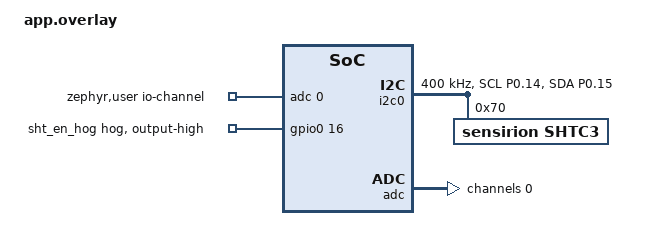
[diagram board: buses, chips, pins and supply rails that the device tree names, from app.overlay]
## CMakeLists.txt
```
cmake_minimum_required(VERSION 3.20.0)
find_package(Zephyr REQUIRED HINTS $ENV{ZEPHYR_BASE})

project(eternal_nrf_code_battery)

target_sources(app PRIVATE src/main.c)
```

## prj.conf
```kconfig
# Bluetooth: broadcaster only (non-connectable advertising, no GATT)
CONFIG_BT=y
CONFIG_BT_BROADCASTER=y
CONFIG_BT_PERIPHERAL=n
CONFIG_BT_OBSERVER=n
CONFIG_BT_CTLR_SDC_PERIPHERAL_COUNT=0
CONFIG_BT_SETTINGS=y
CONFIG_BT_DEVICE_NAME="MT"
CONFIG_SETTINGS=y
CONFIG_FLASH=y
CONFIG_FLASH_MAP=y
CONFIG_NVS=y

# Max TX on nRF52810 (+4 dBm) — favor scanner delivery over burst current
CONFIG_BT_CTLR_TX_PWR_PLUS_4=y

# Use external 32.768 kHz crystal (LFXO). DC/DC is enabled by the nrf52dk
# board's `regulator-initial-mode = <NRF5X_REG_MODE_DCDC>` in DT.
CONFIG_CLOCK_CONTROL_NRF_K32SRC_XTAL=y

# Power management: tickless idle is on by default; explicitly enable PM so
# devices (TWIM, SAADC) drop to their low-power pinctrl states between uses.
CONFIG_PM=y
CONFIG_PM_DEVICE=y
CONFIG_PM_DEVICE_RUNTIME=y

# Trim everything we don't need
CONFIG_SIZE_OPTIMIZATIONS=y
CONFIG_BOOT_BANNER=n
CONFIG_SERIAL=n
CONFIG_UART_CONSOLE=n
CONFIG_LOG=n
CONFIG_ASSERT=n
CONFIG_THREAD_NAME=n
CONFIG_THREAD_MONITOR=n
CONFIG_THREAD_STACK_INFO=n

# All logging / console output disabled for production power-saving.
# printk() calls in the source compile to no-ops with CONFIG_PRINTK=n.
CONFIG_CONSOLE=n
CONFIG_PRINTK=n
CONFIG_USE_SEGGER_RTT=n
CONFIG_RTT_CONSOLE=n

# Tight stacks (broadcaster path only)
CONFIG_MAIN_STACK_SIZE=768
CONFIG_IDLE_STACK_SIZE=128
CONFIG_SYSTEM_WORKQUEUE_STACK_SIZE=1024
CONFIG_BT_RX_STACK_SIZE=1024

# SHT-C3 over I2C
CONFIG_I2C=y
CONFIG_SENSOR=y
CONFIG_SHTCX=y

# SAADC for VDD measurement
CONFIG_ADC=y
```

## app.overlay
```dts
#include <zephyr/dt-bindings/gpio/gpio.h>
#include <zephyr/dt-bindings/adc/adc.h>
#include <zephyr/dt-bindings/adc/nrf-saadc.h>

/ {
	zephyr,user {
		io-channels = <&adc 0>;
	};
};

&pinctrl {
	i2c0_default: i2c0_default {
		group1 {
			psels = <NRF_PSEL(TWIM_SCL, 0, 14)>,
				<NRF_PSEL(TWIM_SDA, 0, 15)>;
		};
	};

	i2c0_sleep: i2c0_sleep {
		group1 {
			psels = <NRF_PSEL(TWIM_SCL, 0, 14)>,
				<NRF_PSEL(TWIM_SDA, 0, 15)>;
			low-power-enable;
		};
	};
};

/* Free P0.09 / P0.10 from NFC1/NFC2 mode so they work as plain GPIOs and
 * the NFC antenna-sense circuit isn't burning current in System ON LP.
 * Writes UICR.NFCPINS = Disabled at boot via the HAL init sequence.
 */
&uicr {
	nfct-pins-as-gpios;
};

&gpio0 {
	sht_en_hog {
		gpio-hog;
		gpios = <16 GPIO_ACTIVE_HIGH>;
		output-high;
	};
};

&i2c0 {
	compatible = "nordic,nrf-twim";
	status = "okay";
	pinctrl-0 = <&i2c0_default>;
	pinctrl-1 = <&i2c0_sleep>;
	pinctrl-names = "default", "sleep";
	clock-frequency = <I2C_BITRATE_FAST>;

	shtc3: shtc3@70 {
		compatible = "sensirion,shtc3", "sensirion,shtcx";
		reg = <0x70>;
		measure-mode = "normal";
		zephyr,deferred-init;
	};
};

&adc {
	status = "okay";
	#address-cells = <1>;
	#size-cells = <0>;

	channel@0 {
		reg = <0>;
		zephyr,gain = "ADC_GAIN_1_6";
		zephyr,reference = "ADC_REF_INTERNAL";
		zephyr,acquisition-time = <ADC_ACQ_TIME_DEFAULT>;
		zephyr,input-positive = <NRF_SAADC_VDD>;
		zephyr,resolution = <12>;
	};
};
```

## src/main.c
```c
#include <zephyr/kernel.h>
#include <zephyr/sys/printk.h>
#include <zephyr/device.h>
#include <zephyr/drivers/gpio.h>
#include <zephyr/drivers/sensor.h>
#include <zephyr/drivers/adc.h>
#include <zephyr/bluetooth/bluetooth.h>
#include <zephyr/settings/settings.h>
#include <zephyr/sys/byteorder.h>
#include <zephyr/sys/atomic.h>

/* BTHome v2 service-data format (https://bthome.io). Objects must be in
 * ascending object-ID order.
 *   uuid     : 0xFCD2 (BTHome SIG-assigned 16-bit UUID), little-endian
 *   info     : 0x40 = v2, unencrypted, not trigger-based
 *   0x00     : packet id, uint8. Incremented on every payload change; HA
 *              drops repeats, so a 1.5 s burst is one update / one event.
 *   0x01     : battery, uint8, % (per-cell discharge curve, resting VDD)
 *   0x02     : temperature, int16 LE, 0.01 degC resolution
 *   0x03     : humidity, uint16 LE, 0.01 % resolution
 *   0x11     : opening, uint8 (magnet/contact state)
 *   0x16     : battery charging, uint8 (from the resting-VDD trend)
 *   0x3A     : button event, uint8 (0 none, 1 press, 2 double, 3 triple,
 *              4 long press). Replaces the old 0x0F generic-bool state.
 *
 * Total advertisement: flags 3 + name "MT" 4 + service data 21 = 28 of
 * the 31 legacy-advertising bytes.
 */
#define BTHOME_UUID         0xFCD2U
#define BTHOME_INFO_V2      0x40U
#define BTHOME_OID_PACKET   0x00U
#define BTHOME_OID_BATTERY  0x01U
#define BTHOME_OID_TEMP     0x02U
#define BTHOME_OID_HUM      0x03U
#define BTHOME_OID_OPENING  0x11U
#define BTHOME_OID_CHARGING 0x16U
#define BTHOME_OID_BUTTON   0x3AU

#define BTN_EVT_NONE        0x00U
#define BTN_EVT_PRESS       0x01U
#define BTN_EVT_DOUBLE      0x02U
#define BTN_EVT_TRIPLE      0x03U
#define BTN_EVT_LONG        0x04U

/* Button timing. Long press fires while still held so it feels immediate. */
#define BTN_DEBOUNCE_MS     20U
#define BTN_MULTI_GAP_MS    350U
#define BTN_LONG_MS         1000U

/* Resting-VDD discharge curve (mV -> %), piecewise linear between points.
 * Approximation of the datasheet curve at uA-level loads; tune against
 * real logs. Readings taken while the radio is active are ignored for the
 * battery %, since TX sag on these small cells is tens of mV.
 */
struct curve_pt {
	uint16_t mv;
	uint8_t  pct;
};

#if defined(ETERNAL_CELL_CR2032)
/* CR2032 primary cell (e.g. the main-door unit). Build with
 *   west build -d build_cr2032 -- -DEXTRA_CFLAGS=-DETERNAL_CELL_CR2032
 * Long flat plateau ~2.9-3.0 V at uA loads, knee below ~2.7 V. No charging
 * object is sent: the cell can't charge.
 */
static const struct curve_pt batt_curve[] = {
	{3000, 100}, {2900, 80}, {2800, 60}, {2700, 40},
	{2600, 25},  {2500, 15}, {2400, 8},  {2200, 0},
};
#else
/* ML621 (Mn-Li, charged to ~3.1 V by the BQ25504 VBAT_OV setting): drops
 * quickly off full charge, then slopes steadily through 2.9-2.5 V.
 */
static const struct curve_pt batt_curve[] = {
	{3100, 100}, {3000, 95}, {2900, 85}, {2800, 70}, {2700, 50},
	{2600, 32},  {2500, 18}, {2400, 9},  {2300, 4},  {2200, 0},
};
#define ETERNAL_TRACK_CHARGING 1
#endif

#if defined(ETERNAL_TRACK_CHARGING)
/* Charging = smoothed resting VDD rising over the last CHG_WINDOW
 * heartbeats (40 min at a 10-min period). Thresholds in mV; hysteresis
 * stops it flapping on ADC noise (~0.9 mV/LSB at gain 1/6).
 */
#define CHG_WINDOW          4U
#define CHG_ON_MV           6
#define CHG_OFF_MV          0
#endif

#define LED0_PIN            10U
#define INPUT_PIN           12U
#define BUTTON_PIN          20U
#define SHT_EN_PIN          16U

/* Periodic heartbeat (temp/humidity/battery). Kept under Home Assistant's
 * 15-min BLE stale-advertisement fallback so one missed burst doesn't mark
 * the device unavailable. Was 5 min; the periodic bursts dominated the
 * energy budget on low-light (back door) units.
 */
#define SENSOR_PERIOD       K_MINUTES(10)
/* Interval matches nrf_doorbell: 20-30 ms (0x0020/0x0030 in 0.625 ms units)
 * instead of BT_LE_ADV_NCONN_IDENTITY's 100-150 ms. TX is +4 dBm (see
 * prj.conf).
 *
 * Door/button events get the long burst (~50-75 events) because a missed
 * open/close matters. Periodic heartbeats get a short burst (~10-15 events):
 * a lost one is simply replaced by the next. Together with the 10-min period
 * this cuts periodic radio-on time ~10x (288 x 1.5 s -> 144 x 0.3 s per day).
 */
#define ADV_BURST_EVENT_MS     1500U
#define ADV_BURST_PERIODIC_MS  300U
#define LED_FLASH_MS        30U

/* BLE advertising interval units are 0.625 ms; 0x0020=20 ms, 0x0030=30 ms. */
static const struct bt_le_adv_param adv_param = {
	.id = BT_ID_DEFAULT,
	.sid = 0,
	.secondary_max_skip = 0,
	.options = BT_LE_ADV_OPT_USE_IDENTITY,
	.interval_min = 0x0020,
	.interval_max = 0x0030,
	.peer = NULL,
};

static struct {
	uint16_t uuid;
	uint8_t  info;
	uint8_t  oid_packet;
	uint8_t  packet_id;
	uint8_t  oid_battery;
	uint8_t  battery_pct;
	uint8_t  oid_temp;
	int16_t  temp_centi_c;
	uint8_t  oid_hum;
	uint16_t hum_centi_pct;
	uint8_t  oid_magnet;
	uint8_t  magnet_open;
#if defined(ETERNAL_TRACK_CHARGING)
	uint8_t  oid_charging;
	uint8_t  charging;
#endif
	uint8_t  oid_button;
	uint8_t  button_event;
} __packed svc = {
	.uuid         = sys_cpu_to_le16(BTHOME_UUID),
	.info         = BTHOME_INFO_V2,
	.oid_packet   = BTHOME_OID_PACKET,
	.oid_battery  = BTHOME_OID_BATTERY,
	.oid_temp     = BTHOME_OID_TEMP,
	.oid_hum      = BTHOME_OID_HUM,
	.oid_magnet   = BTHOME_OID_OPENING,
#if defined(ETERNAL_TRACK_CHARGING)
	.oid_charging = BTHOME_OID_CHARGING,
#endif
	.oid_button   = BTHOME_OID_BUTTON,
};

static const struct bt_data ad[] = {
	BT_DATA_BYTES(BT_DATA_FLAGS, BT_LE_AD_NO_BREDR | BT_LE_AD_GENERAL),
	BT_DATA_BYTES(BT_DATA_NAME_COMPLETE, 'M', 'T'),
	BT_DATA(BT_DATA_SVC_DATA16, (const uint8_t *)&svc, sizeof(svc)),
};

/* Legacy advertising payload limit. */
BUILD_ASSERT((3 + 4 + 2 + sizeof(svc)) <= 31, "advertisement exceeds 31 bytes");

static const struct device *const gpio0 = DEVICE_DT_GET(DT_NODELABEL(gpio0));
static const struct device *const shtc3 = DEVICE_DT_GET(DT_NODELABEL(shtc3));
static const struct adc_dt_spec adc_vdd =
	ADC_DT_SPEC_GET(DT_PATH(zephyr_user));

static struct gpio_callback input_cb;
static struct gpio_callback button_cb;
static struct k_work        update_work;
static struct k_work_delayable adv_stop_work;
static struct k_work_delayable sensor_work;
static bool advertising;
static bool bt_ready;
/* Set by GPIO ISR / boot to request the long event burst; consumed by
 * update_work_handler. Periodic updates leave it clear.
 */
static atomic_t event_pending;
/* Uptime (ms) at which the current advertising burst is due to stop. */
static int64_t adv_end_ms;
/* Button event resolved by the button state machine, waiting to be sent. */
static atomic_t button_event_pending;

static struct k_work_delayable btn_debounce_work;
static struct k_work_delayable btn_resolve_work;
static struct k_work_delayable btn_long_work;
static bool    btn_down;        /* debounced state */
static uint8_t btn_clicks;
static bool    btn_long_fired;

#if defined(ETERNAL_TRACK_CHARGING)
static int32_t chg_ema_mv16;    /* EMA of resting VDD, mV * 16 */
static int32_t chg_hist[CHG_WINDOW];
static uint8_t chg_count;
static uint8_t chg_idx;
#endif

/* Every GPIO we don't drive or sense.
 *
 * Includes both QCAA-exposed pins (4,5,6,9,18,25,28,30) and the die-pad
 * pins that aren't bonded out in the QCAA package (2,3,7,8,11,13,17,19,
 * 22,23,24,26,27,29,31). PIN_CNF still controls those die pads; disabling
 * their input buffers cuts any latent pad leakage. Skipped:
 *   0,1   - XL1/XL2 (LFXO, owned by the clock-control driver)
 *   10    - LED
 *   12    - DRV5032 input
 *   14,15 - I2C SCL/SDA (managed by pinctrl)
 *   16    - SHT_VCC
 *   20    - button
 *   21    - RESET
 */
static const uint8_t unused_pins[] = {
	2, 3, 4, 5, 6, 7, 8, 9, 11, 13,
	17, 18, 19, 22, 23, 24, 25, 26, 27, 28,
	29, 30, 31,
};

static int bt_setup(void)
{
	if (bt_ready) {
		return 0;
	}
	int err = bt_enable(NULL);
	if (err && err != -EALREADY) {
		printk("bt_enable failed: %d\n", err);
		return err;
	}
	if (IS_ENABLED(CONFIG_BT_SETTINGS)) {
		(void)settings_load();
	}
	bt_ready = true;
	return 0;
}

static void bt_teardown(void)
{
	if (!bt_ready) {
		return;
	}
	(void)bt_disable();
	bt_ready = false;
}

static int read_shtc3_sample(int16_t *temp_centi_c, uint16_t *hum_centi_pct)
{
	struct sensor_value temp;
	struct sensor_value hum;
	int rc;

	/* Power-gate the SHTC3: drive SHT_EN high for the read, then low.
	 * Datasheet power-up time is ~240 us; 5 ms gives ample margin and
	 * the CPU just idles during k_sleep().
	 */
	(void)gpio_pin_set(gpio0, SHT_EN_PIN, 1);
	k_sleep(K_MSEC(5));

	rc = sensor_sample_fetch(shtc3);
	if (rc == 0) {
		rc = sensor_channel_get(shtc3, SENSOR_CHAN_AMBIENT_TEMP, &temp);
	}
	if (rc == 0) {
		rc = sensor_channel_get(shtc3, SENSOR_CHAN_HUMIDITY, &hum);
	}

	(void)gpio_pin_set(gpio0, SHT_EN_PIN, 0);

	if (rc) {
		printk("shtc3: read failed (%d)\n", rc);
		return -1;
	}

	int32_t temp_micro = (temp.val1 * 1000000) + temp.val2;
	int32_t hum_micro  = (hum.val1 * 1000000) + hum.val2;

	*temp_centi_c = (int16_t)(temp_micro / 10000);
	if (hum_micro < 0) {
		hum_micro = 0;
	}
	*hum_centi_pct = (uint16_t)(hum_micro / 10000);
	return 0;
}

static uint8_t voltage_to_battery_pct(uint16_t mv)
{
	const size_t n = ARRAY_SIZE(batt_curve);

	if (mv >= batt_curve[0].mv) {
		return batt_curve[0].pct;
	}
	for (size_t i = 1; i < n; i++) {
		const struct curve_pt *hi = &batt_curve[i - 1];
		const struct curve_pt *lo = &batt_curve[i];

		if (mv >= lo->mv) {
			return (uint8_t)(lo->pct +
				((uint32_t)(mv - lo->mv) * (hi->pct - lo->pct)) /
				(hi->mv - lo->mv));
		}
	}
	return batt_curve[n - 1].pct;
}

#if defined(ETERNAL_TRACK_CHARGING)
/* Feed one resting VDD sample per heartbeat; returns the charging flag. */
static uint8_t charge_track(uint16_t mv)
{
	int32_t s = (int32_t)mv * 16;

	if (chg_count == 0U) {
		chg_ema_mv16 = s;
	} else {
		chg_ema_mv16 += (s - chg_ema_mv16) / 4;	/* alpha = 1/4 */
	}

	int32_t oldest = chg_hist[chg_idx];

	chg_hist[chg_idx] = chg_ema_mv16;
	chg_idx = (chg_idx + 1U) % CHG_WINDOW;
	if (chg_count < CHG_WINDOW) {
		chg_count++;
		return 0U;	/* not enough history yet */
	}

	int32_t delta_mv = (chg_ema_mv16 - oldest) / 16;

	if (delta_mv >= CHG_ON_MV) {
		return 1U;
	}
	if (delta_mv <= CHG_OFF_MV) {
		return 0U;
	}
	return svc.charging;	/* hysteresis band: hold */
}
#endif

static int read_vdd_millivolts(uint16_t *millivolts)
{
	int16_t raw = 0;
	struct adc_sequence seq = {
		.buffer      = &raw,
		.buffer_size = sizeof(raw),
	};

	int err = adc_sequence_init_dt(&adc_vdd, &seq);
	if (err) {
		return err;
	}
	err = adc_read(adc_vdd.dev, &seq);
	if (err) {
		return err;
	}

	int32_t mv = raw;
	err = adc_raw_to_millivolts_dt(&adc_vdd, &mv);
	if (err) {
		return err;
	}
	if (mv < 0) {
		mv = 0;
	}
	*millivolts = (uint16_t)mv;
	return 0;
}

static void update_work_handler(struct k_work *w)
{
	ARG_UNUSED(w);

	int16_t  t = 0;
	uint16_t h = 0;
	uint16_t v = 0;

	bool is_event = atomic_clear(&event_pending) != 0;

	if (read_shtc3_sample(&t, &h) == 0) {
		svc.temp_centi_c  = sys_cpu_to_le16(t);
		svc.hum_centi_pct = sys_cpu_to_le16(h);
	}

	/* Only trust VDD while the radio is idle; mid-burst readings sag. */
	if (!advertising && read_vdd_millivolts(&v) == 0) {
		svc.battery_pct = voltage_to_battery_pct(v);
#if defined(ETERNAL_TRACK_CHARGING)
		if (!is_event) {
			svc.charging = charge_track(v);
		}
#endif
	}

	int magnet = gpio_pin_get(gpio0, INPUT_PIN);

	svc.magnet_open  = (magnet > 0) ? 1U : 0U;
	svc.button_event = (uint8_t)atomic_clear(&button_event_pending);
	svc.packet_id++;

	printk("update: pkt=%u t=%d.%02d C  rh=%u.%02u %%  v=%u mV  batt=%u %%  mag=%s  btn_evt=%u\n",
	       svc.packet_id,
	       t / 100, (t < 0 ? -t : t) % 100,
	       h / 100, h % 100,
	       v, svc.battery_pct,
	       svc.magnet_open ? "open" : "closed",
	       svc.button_event);

	uint32_t burst_ms = is_event ? ADV_BURST_EVENT_MS : ADV_BURST_PERIODIC_MS;
	int64_t  end_ms   = k_uptime_get() + burst_ms;

	if (advertising) {
		(void)bt_le_adv_update_data(ad, ARRAY_SIZE(ad), NULL, 0);
	} else {
		if (bt_setup() != 0) {
			return;
		}
		if (bt_le_adv_start(&adv_param, ad,
				    ARRAY_SIZE(ad), NULL, 0)) {
			printk("adv_start failed\n");
			return;
		}
		advertising = true;
	}

	/* The host copied the payload above. Clear the one-shot button event
	 * locally so the next packet id doesn't carry it again.
	 */
	svc.button_event = BTN_EVT_NONE;

	/* Never shorten a burst already in flight (e.g. a heartbeat landing
	 * inside a door-event burst); only extend it.
	 */
	if (end_ms <= adv_end_ms && k_work_delayable_is_pending(&adv_stop_work)) {
		return;
	}

	adv_end_ms = end_ms;
	(void)k_work_reschedule(&adv_stop_work, K_MSEC(burst_ms));
}

static void adv_stop_handler(struct k_work *w)
{
	ARG_UNUSED(w);
	if (advertising) {
		(void)bt_le_adv_stop();
		advertising = false;
	}
	/* Brief "going to sleep" blink. Runs on the system workqueue so
	 * k_sleep() just yields the CPU to idle for the flash duration.
	 */
	(void)gpio_pin_set(gpio0, LED0_PIN, 1);
	k_sleep(K_MSEC(LED_FLASH_MS));
	(void)gpio_pin_set(gpio0, LED0_PIN, 0);

	/* Tear down the BLE controller for the long idle window. The next
	 * update_work will rebuild it via bt_setup(). At a 10-min cycle the
	 * one-shot enable cost (~30 ms HFCLK + flash read) is heavily
	 * dominated by the ~1-2 uA continuous saving while disabled.
	 */
	bt_teardown();
}

static void sensor_work_handler(struct k_work *w)
{
	ARG_UNUSED(w);
	(void)k_work_submit(&update_work);
	(void)k_work_reschedule(&sensor_work, SENSOR_PERIOD);
}

/* Button state machine (system workqueue). The ISR only kicks the
 * debounce timer; edges are processed once the pin has been stable for
 * BTN_DEBOUNCE_MS. Only resolved events (press / double / triple / long)
 * are sent, so a click costs one event burst instead of one per edge.
 */
static void btn_emit(uint8_t evt)
{
	atomic_set(&button_event_pending, evt);
	atomic_set(&event_pending, 1);
	(void)k_work_submit(&update_work);
}

static void btn_long_handler(struct k_work *w)
{
	ARG_UNUSED(w);
	if (btn_down) {
		btn_long_fired = true;
		btn_clicks = 0U;
		(void)k_work_cancel_delayable(&btn_resolve_work);
		btn_emit(BTN_EVT_LONG);
	}
}

static void btn_resolve_handler(struct k_work *w)
{
	ARG_UNUSED(w);
	uint8_t n = btn_clicks;

	btn_clicks = 0U;
	if (n == 0U) {
		return;
	}
	btn_emit(n == 1U ? BTN_EVT_PRESS :
		 n == 2U ? BTN_EVT_DOUBLE : BTN_EVT_TRIPLE);
}

static void btn_debounce_handler(struct k_work *w)
{
	ARG_UNUSED(w);
	bool down = (gpio_pin_get(gpio0, BUTTON_PIN) == 0);	/* active low */

	if (down == btn_down) {
		return;		/* bounce settled back to the same state */
	}
	btn_down = down;

	if (down) {
		btn_long_fired = false;
		(void)k_work_cancel_delayable(&btn_resolve_work);
		(void)k_work_reschedule(&btn_long_work, K_MSEC(BTN_LONG_MS));
	} else {
		(void)k_work_cancel_delayable(&btn_long_work);
		if (btn_long_fired) {
			return;
		}
		if (btn_clicks < 3U) {
			btn_clicks++;
		}
		(void)k_work_reschedule(&btn_resolve_work,
					K_MSEC(BTN_MULTI_GAP_MS));
	}
}

/* Re-arm SENSE on a pin to fire on its NEXT transition. We use level-mode
 * interrupts (which map to GPIOTE PORT/SENSE on the nRF gpio driver, LFCLK-
 * based, ~0 uA idle) rather than edge-mode interrupts (which allocate a
 * GPIOTE channel in IN-event mode and burn ~5-6 uA continuously in System
 * ON LP). After each detection the callback flips the sense polarity, so
 * functionally this behaves identically to GPIO_INT_EDGE_BOTH.
 */
static void rearm_pin_sense(gpio_pin_t pin)
{
	int level = gpio_pin_get(gpio0, pin);
	(void)gpio_pin_interrupt_configure(gpio0, pin,
		level > 0 ? GPIO_INT_LEVEL_LOW : GPIO_INT_LEVEL_HIGH);
}

static void gpio_event_cb(const struct device *dev,
			  struct gpio_callback *cb, uint32_t pins)
{
	ARG_UNUSED(dev);
	ARG_UNUSED(cb);

	if (pins & BIT(BUTTON_PIN)) {
		rearm_pin_sense(BUTTON_PIN);
		(void)k_work_reschedule(&btn_debounce_work,
					K_MSEC(BTN_DEBOUNCE_MS));
	}
	if (pins & BIT(INPUT_PIN)) {
		rearm_pin_sense(INPUT_PIN);
		atomic_set(&event_pending, 1);
		(void)k_work_submit(&update_work);
	}
}

int main(void)
{
	printk("nrf-sensor: boot\n");

	if (!device_is_ready(gpio0)) {
		printk("gpio0 not ready\n");
		return -1;
	}
	if (!device_is_ready(adc_vdd.dev)) {
		printk("adc not ready\n");
		return -1;
	}

	/* LED: drive low (off) by default. Only pulsed briefly after each
	 * BLE burst as a "going to sleep" indicator.
	 */
	if (gpio_pin_configure(gpio0, LED0_PIN, GPIO_OUTPUT_INACTIVE)) {
		printk("led pin config failed\n");
		return -1;
	}

	/* Power up the SHTC3 long enough to run device_init() (the driver
	 * does a wake + ID-check + sleep over I2C). The DT gpio-hog already
	 * holds SHT_EN high at boot; this re-asserts it explicitly so we
	 * own the pin from here on.
	 */
	if (gpio_pin_configure(gpio0, SHT_EN_PIN, GPIO_OUTPUT_ACTIVE)) {
		printk("sht_en config failed\n");
		return -1;
	}
	k_sleep(K_MSEC(20));

	if (device_init(shtc3)) {
		printk("shtc3 init failed\n");
		return -1;
	}
	if (!device_is_ready(shtc3)) {
		printk("shtc3 not ready\n");
		return -1;
	}

	/* Init complete; gate the sensor power off. read_shtc3_sample()
	 * re-asserts SHT_EN around each measurement.
	 */
	(void)gpio_pin_set(gpio0, SHT_EN_PIN, 0);

	if (adc_channel_setup_dt(&adc_vdd)) {
		printk("adc channel setup failed\n");
		return -1;
	}

	/* DRV5032 (push-pull variant) actively drives both rails; no internal
	 * pull needed, and adding one would just burn current fighting the
	 * driver whenever the output sits in the opposite state.
	 */
	if (gpio_pin_configure(gpio0, INPUT_PIN, GPIO_INPUT)) {
		printk("input pin config failed\n");
		return -1;
	}
	if (gpio_pin_configure(gpio0, BUTTON_PIN,
			       GPIO_INPUT | GPIO_PULL_UP)) {
		printk("button pin config failed\n");
		return -1;
	}

	k_work_init(&update_work, update_work_handler);
	k_work_init_delayable(&adv_stop_work,     adv_stop_handler);
	k_work_init_delayable(&sensor_work,       sensor_work_handler);
	k_work_init_delayable(&btn_debounce_work, btn_debounce_handler);
	k_work_init_delayable(&btn_resolve_work,  btn_resolve_handler);
	k_work_init_delayable(&btn_long_work,     btn_long_handler);
	btn_down = (gpio_pin_get(gpio0, BUTTON_PIN) == 0);

	gpio_init_callback(&input_cb,  gpio_event_cb, BIT(INPUT_PIN));
	gpio_init_callback(&button_cb, gpio_event_cb, BIT(BUTTON_PIN));
	gpio_add_callback(gpio0, &input_cb);
	gpio_add_callback(gpio0, &button_cb);

	/* Arm SENSE on the current pin state's opposite polarity. See
	 * rearm_pin_sense() above for why we avoid GPIO_INT_EDGE_*.
	 */
	rearm_pin_sense(INPUT_PIN);
	rearm_pin_sense(BUTTON_PIN);

	/* Disconnect every pin we don't drive or sense. Reset state is
	 * input-with-buffer-enabled, which can burn pad leakage if the pin
	 * floats around mid-rail.
	 */
	for (size_t i = 0; i < ARRAY_SIZE(unused_pins); i++) {
		(void)gpio_pin_configure(gpio0, unused_pins[i],
					 GPIO_DISCONNECTED);
	}

	/* BLE controller is brought up on demand by update_work_handler ->
	 * bt_setup(), and torn down by adv_stop_handler -> bt_teardown().
	 * No need to call bt_enable() here.
	 */

	/* First publish, then arm the periodic sensor timer. The CPU stays
	 * in System ON low-power between events; wake sources are the
	 * GPIOTE PORT/SENSE detect on INPUT_PIN + BUTTON_PIN and the RTC
	 * tick driving the delayable workqueue.
	 */
	atomic_set(&event_pending, 1);	/* boot publish: use the long burst */
	(void)k_work_submit(&update_work);
	(void)k_work_reschedule(&sensor_work, SENSOR_PERIOD);

	return 0;
}
```
